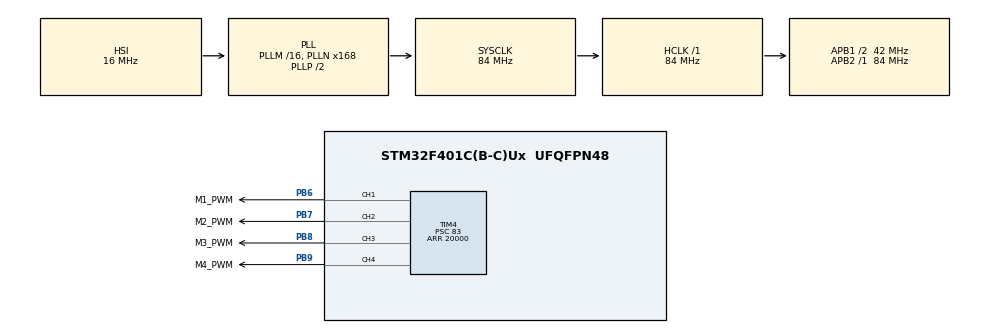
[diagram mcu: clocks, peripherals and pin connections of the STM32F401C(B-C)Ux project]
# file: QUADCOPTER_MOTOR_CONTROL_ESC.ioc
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Mcu.Family=STM32F4
Mcu.Name=STM32F401C(B-C)Ux
Mcu.Package=UFQFPN48
NVIC.PriorityGroup=NVIC_PRIORITYGROUP_4
PB6.GPIO_Label=M1_PWM
PB6.Signal=S_TIM4_CH1
PB7.GPIO_Label=M2_PWM
PB7.Signal=S_TIM4_CH2
PB8.GPIO_Label=M3_PWM
PB8.Signal=S_TIM4_CH3
PB9.GPIO_Label=M4_PWM
PB9.Signal=S_TIM4_CH4
ProjectManager.HeapSize=0x200
ProjectManager.StackSize=0x400
ProjectManager.TargetToolchain=STM32CubeIDE
RCC.48MHZClocksFreq_Value=42000000
RCC.AHBFreq_Value=84000000
RCC.APB1CLKDivider=RCC_HCLK_DIV2
RCC.APB1Freq_Value=42000000
RCC.APB1TimFreq_Value=84000000
RCC.APB2Freq_Value=84000000
RCC.APB2TimFreq_Value=84000000
RCC.CortexFreq_Value=84000000
RCC.HCLKFreq_Value=84000000
RCC.HSE_VALUE=25000000
RCC.HSI_VALUE=16000000
RCC.LSE_VALUE=32768
RCC.PLLN=168
RCC.SYSCLKFreq_VALUE=84000000
RCC.SYSCLKSource=RCC_SYSCLKSOURCE_PLLCLK
RCC.VCOOutputFreq_Value=168000000
SH.S_TIM4_CH1.0=TIM4_CH1,PWM Generation1 CH1
SH.S_TIM4_CH2.0=TIM4_CH2,PWM Generation2 CH2
SH.S_TIM4_CH3.0=TIM4_CH3,PWM Generation3 CH3
SH.S_TIM4_CH4.0=TIM4_CH4,PWM Generation4 CH4
TIM4.Channel-PWM\ Generation1\ CH1=TIM_CHANNEL_1
TIM4.Channel-PWM\ Generation2\ CH2=TIM_CHANNEL_2
TIM4.Channel-PWM\ Generation3\ CH3=TIM_CHANNEL_3
TIM4.Channel-PWM\ Generation4\ CH4=TIM_CHANNEL_4
TIM4.Period=20000
TIM4.Prescaler=83
VP_TIM4_VS_ClockSourceINT.Mode=Internal
board=custom

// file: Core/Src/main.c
/* USER CODE BEGIN Header */
/**
  ******************************************************************************
  * @file           : main.c
  * @brief          : Main program body
  ******************************************************************************
  * @attention
  *
  * Copyright (c) 2025 STMicroelectronics.
  * All rights reserved.
  *
  * This software is licensed under terms that can be found in the LICENSE file
  * in the root directory of this software component.
  * If no LICENSE file comes with this software, it is provided AS-IS.
  *
  ******************************************************************************
  */
/* USER CODE END Header */
#include "main.h"

/* USER CODE BEGIN Includes */
#include "motor_drone.h"
/* USER CODE END Includes */

TIM_HandleTypeDef htim4;

/* USER CODE BEGIN PV */
MotorDroneHandler motor_drone =
{
		.motor1_ch = TIM_CHANNEL_1,
		.motor2_ch = TIM_CHANNEL_2,
		.motor3_ch = TIM_CHANNEL_3,
		.motor4_ch = TIM_CHANNEL_4,
		.timer = &htim4,
		};

/* USER CODE END PV */

void SystemClock_Config(void);
static void MX_GPIO_Init(void);
static void MX_TIM4_Init(void);

/* USER CODE BEGIN 0 */
uint8_t pwm_duty_percentage;
/* USER CODE END 0 */

int main(void)
{

  /* MCU Configuration--------------------------------------------------------*/

  /* Reset of all peripherals, Initializes the Flash interface and the Systick. */
  HAL_Init();

  /* Configure the system clock */
  SystemClock_Config();

  /* Initialize all configured peripherals */
  MX_GPIO_Init();
  MX_TIM4_Init();
  /* USER CODE BEGIN 2 */
  HAL_Delay(1000);

  /* USER CODE END 2 */

  /* Infinite loop */
  /* USER CODE BEGIN WHILE */
  while (1)
  {
	  set_motor_voltage(&motor_drone, MOTOR_1, pwm_duty_percentage);
	  set_motor_voltage(&motor_drone, MOTOR_2, pwm_duty_percentage);
	  set_motor_voltage(&motor_drone, MOTOR_3, pwm_duty_percentage);
	  set_motor_voltage(&motor_drone, MOTOR_4, pwm_duty_percentage);
	  HAL_Delay(100);
    /* USER CODE END WHILE */

  }
}

void SystemClock_Config(void)
{
  RCC_OscInitTypeDef RCC_OscInitStruct = {0};
  RCC_ClkInitTypeDef RCC_ClkInitStruct = {0};

  /** Configure the main internal regulator output voltage
  */
  __HAL_RCC_PWR_CLK_ENABLE();
  __HAL_PWR_VOLTAGESCALING_CONFIG(PWR_REGULATOR_VOLTAGE_SCALE2);

  /** Initializes the RCC Oscillators according to the specified parameters
  * in the RCC_OscInitTypeDef structure.
  */
  RCC_OscInitStruct.OscillatorType = RCC_OSCILLATORTYPE_HSI;
  RCC_OscInitStruct.HSIState = RCC_HSI_ON;
  RCC_OscInitStruct.HSICalibrationValue = RCC_HSICALIBRATION_DEFAULT;
  RCC_OscInitStruct.PLL.PLLState = RCC_PLL_ON;
  RCC_OscInitStruct.PLL.PLLSource = RCC_PLLSOURCE_HSI;
  RCC_OscInitStruct.PLL.PLLM = 16;
  RCC_OscInitStruct.PLL.PLLN = 168;
  RCC_OscInitStruct.PLL.PLLP = RCC_PLLP_DIV2;
  RCC_OscInitStruct.PLL.PLLQ = 4;
  if (HAL_RCC_OscConfig(&RCC_OscInitStruct) != HAL_OK)
  {
    Error_Handler();
  }

  /** Initializes the CPU, AHB and APB buses clocks
  */
  RCC_ClkInitStruct.ClockType = RCC_CLOCKTYPE_HCLK|RCC_CLOCKTYPE_SYSCLK
                              |RCC_CLOCKTYPE_PCLK1|RCC_CLOCKTYPE_PCLK2;
  RCC_ClkInitStruct.SYSCLKSource = RCC_SYSCLKSOURCE_PLLCLK;
  RCC_ClkInitStruct.AHBCLKDivider = RCC_SYSCLK_DIV1;
  RCC_ClkInitStruct.APB1CLKDivider = RCC_HCLK_DIV2;
  RCC_ClkInitStruct.APB2CLKDivider = RCC_HCLK_DIV1;

  if (HAL_RCC_ClockConfig(&RCC_ClkInitStruct, FLASH_LATENCY_2) != HAL_OK)
  {
    Error_Handler();
  }
}

static void MX_TIM4_Init(void)
{

  TIM_ClockConfigTypeDef sClockSourceConfig = {0};
  TIM_MasterConfigTypeDef sMasterConfig = {0};
  TIM_OC_InitTypeDef sConfigOC = {0};

  htim4.Instance = TIM4;
  htim4.Init.Prescaler = 83;
  htim4.Init.CounterMode = TIM_COUNTERMODE_UP;
  htim4.Init.Period = 20000;
  htim4.Init.ClockDivision = TIM_CLOCKDIVISION_DIV1;
  htim4.Init.AutoReloadPreload = TIM_AUTORELOAD_PRELOAD_DISABLE;
  if (HAL_TIM_Base_Init(&htim4) != HAL_OK)
  {
    Error_Handler();
  }
  sClockSourceConfig.ClockSource = TIM_CLOCKSOURCE_INTERNAL;
  if (HAL_TIM_ConfigClockSource(&htim4, &sClockSourceConfig) != HAL_OK)
  {
    Error_Handler();
  }
  if (HAL_TIM_PWM_Init(&htim4) != HAL_OK)
  {
    Error_Handler();
  }
  sMasterConfig.MasterOutputTrigger = TIM_TRGO_RESET;
  sMasterConfig.MasterSlaveMode = TIM_MASTERSLAVEMODE_DISABLE;
  if (HAL_TIMEx_MasterConfigSynchronization(&htim4, &sMasterConfig) != HAL_OK)
  {
    Error_Handler();
  }
  sConfigOC.OCMode = TIM_OCMODE_PWM1;
  sConfigOC.Pulse = 0;
  sConfigOC.OCPolarity = TIM_OCPOLARITY_HIGH;
  sConfigOC.OCFastMode = TIM_OCFAST_DISABLE;
  if (HAL_TIM_PWM_ConfigChannel(&htim4, &sConfigOC, TIM_CHANNEL_1) != HAL_OK)
  {
    Error_Handler();
  }
  if (HAL_TIM_PWM_ConfigChannel(&htim4, &sConfigOC, TIM_CHANNEL_2) != HAL_OK)
  {
    Error_Handler();
  }
  if (HAL_TIM_PWM_ConfigChannel(&htim4, &sConfigOC, TIM_CHANNEL_3) != HAL_OK)
  {
    Error_Handler();
  }
  if (HAL_TIM_PWM_ConfigChannel(&htim4, &sConfigOC, TIM_CHANNEL_4) != HAL_OK)
  {
    Error_Handler();
  }
  /* USER CODE BEGIN TIM4_Init 2 */
  HAL_TIM_Base_Start(&htim4);
    HAL_TIM_PWM_Start(&htim4, TIM_CHANNEL_1);
    HAL_TIM_PWM_Start(&htim4, TIM_CHANNEL_2);
    HAL_TIM_PWM_Start(&htim4, TIM_CHANNEL_3);
    HAL_TIM_PWM_Start(&htim4, TIM_CHANNEL_4);
  /* USER CODE END TIM4_Init 2 */
  HAL_TIM_MspPostInit(&htim4);

}

static void MX_GPIO_Init(void)
{

  /* GPIO Ports Clock Enable */
  __HAL_RCC_GPIOB_CLK_ENABLE();

}

void Error_Handler(void)
{
  __disable_irq();
  while (1)
  {
  }
}
